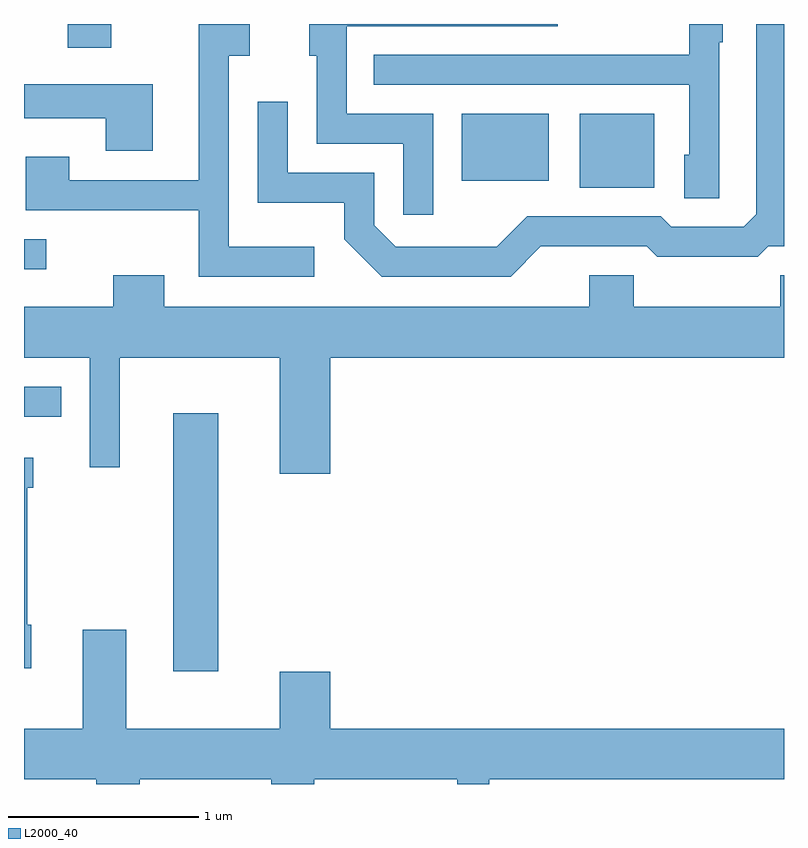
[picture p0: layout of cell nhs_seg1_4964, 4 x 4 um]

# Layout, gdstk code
import gdstk
lib = gdstk.Library(unit=1e-6, precision=1e-09)
def R(c, l, rs):  # rectangles x0, y0, x1, y1
    for r in rs: c.add(gdstk.rectangle(r[:2], r[2:], *l))
def P(c, l, *ps):  # polygons
    for p in ps: c.add(gdstk.Polygon(p, *l))
L2000_40 = (2000, 40)

nhs_seg1_4964 = lib.new_cell('nhs_seg1_4964')
R(nhs_seg1_4964, L2000_40, [(334.396,962.306,334.634,963.664), (333.611,963.646,333.808,963.804), (333.611,964.421,333.728,964.579), (336.536,964.851,336.929,965.239), (335.916,964.886,336.374,965.239), (333.841,965.586,334.069,965.712)])
P(nhs_seg1_4964, L2000_40, [(337.269,965.616),(337.289,965.616),(337.289,965.712),(337.111,965.712),(337.111,965.549),(335.453,965.549),(335.453,965.391),(337.111,965.391),(337.111,965.024),(337.086,965.024),(337.086,964.796),(337.269,964.796)],
  [(335.138,964.539),(334.689,964.539),(334.689,965.546),(334.799,965.546),(334.799,965.712),(334.531,965.712),(334.531,964.889),(333.849,964.889),(333.849,965.014),(333.621,965.014),(333.621,964.731),(334.531,964.731),(334.531,964.381),(335.138,964.381)],
  [(335.764,965.239),(335.309,965.239),(335.309,965.701),(336.419,965.701),(336.419,965.712),(335.111,965.712),(335.111,965.546),(335.151,965.546),(335.151,965.081),(335.606,965.081),(335.606,964.708),(335.764,964.708)],
  [(336.332,964.541),(336.889,964.541),(336.944,964.486),(337.472,964.486),(337.527,964.541),(337.611,964.541),(337.611,965.712),(337.466,965.712),(337.466,964.712),(337.399,964.644),(337.017,964.644),(336.962,964.699),(336.259,964.699),(336.099,964.539),(335.567,964.539),(335.454,964.652),(335.454,964.929),(334.999,964.929),(334.999,965.303),(334.841,965.303),(334.841,964.771),(335.296,964.771),(335.296,964.579),(335.494,964.381),(336.172,964.381)],
  [(334.289,965.394),(333.611,965.394),(333.611,965.216),(334.041,965.216),(334.041,965.046),(334.289,965.046)],
  [(335.224,963.956),(337.611,963.956),(337.611,964.389),(337.591,964.389),(337.591,964.224),(336.819,964.224),(336.819,964.389),(336.586,964.389),(336.586,964.224),(334.349,964.224),(334.349,964.389),(334.081,964.389),(334.081,964.224),(333.611,964.224),(333.611,963.956),(333.956,963.956),(333.956,963.378),(334.114,963.378),(334.114,963.956),(334.956,963.956),(334.956,963.346),(335.224,963.346)],
  [(333.649,962.549),(333.629,962.549),(333.629,963.271),(333.659,963.271),(333.659,963.429),(333.611,963.429),(333.611,962.321),(333.649,962.321)],
  [(334.219,961.736),(334.911,961.736),(334.911,961.712),(335.139,961.712),(335.139,961.736),(335.891,961.736),(335.891,961.712),(336.059,961.712),(336.059,961.736),(337.611,961.736),(337.611,962.004),(335.224,962.004),(335.224,962.304),(334.956,962.304),(334.956,962.004),(334.149,962.004),(334.149,962.524),(333.921,962.524),(333.921,962.004),(333.611,962.004),(333.611,961.736),(333.991,961.736),(333.991,961.712),(334.219,961.712)])

lib.write_gds('nhs_seg1_4964.gds')
